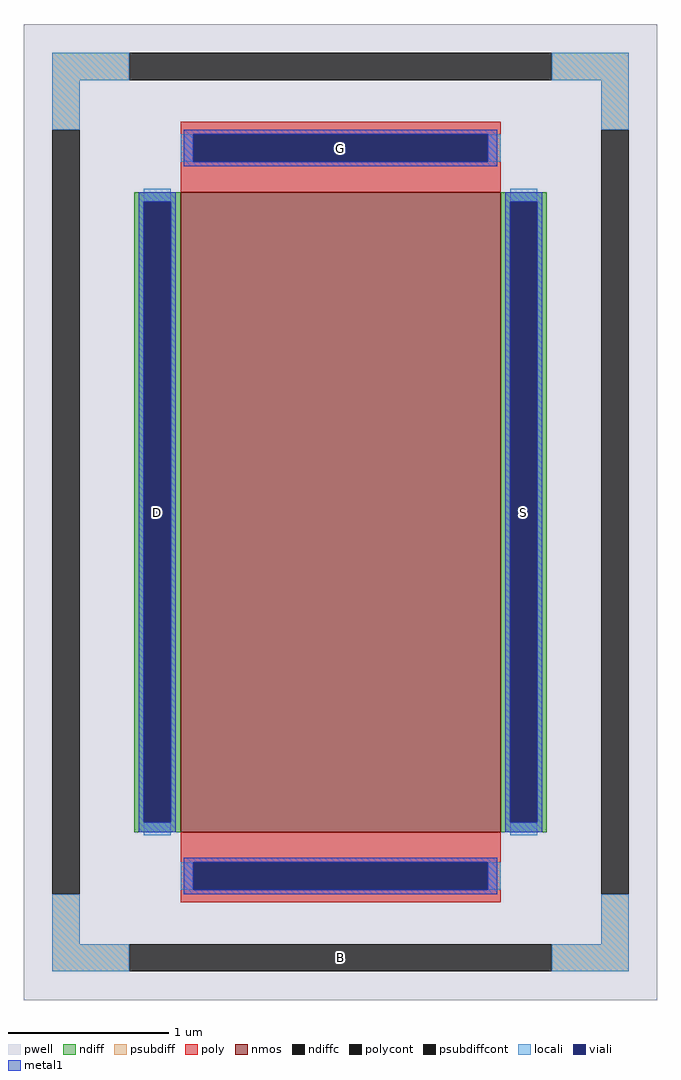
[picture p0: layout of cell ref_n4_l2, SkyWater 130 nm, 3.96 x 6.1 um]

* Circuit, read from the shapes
.subckt ref_n4_l2 B D S G
XM1 S G D B sky130_fd_pr__nfet_01v8 w=4 l=2
.ends

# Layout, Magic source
magic
tech sky130A
magscale 1 2
<< pwell >>
rect -396 -610 396 610
<< nmos >>
rect -200 -400 200 400
<< ndiff >>
rect -258 388 -200 400
rect -258 -388 -246 388
rect -212 -388 -200 388
rect -258 -400 -200 -388
rect 200 388 258 400
rect 200 -388 212 388
rect 246 -388 258 388
rect 200 -400 258 -388
<< ndiffc >>
rect -246 -388 -212 388
rect 212 -388 246 388
<< psubdiff >>
rect -360 540 -264 574
rect 264 540 360 574
rect -360 478 -326 540
rect 326 478 360 540
rect -360 -540 -326 -478
rect 326 -540 360 -478
rect -360 -574 -264 -540
rect 264 -574 360 -540
<< psubdiffcont >>
rect -264 540 264 574
rect -360 -478 -326 478
rect 326 -478 360 478
rect -264 -574 264 -540
<< poly >>
rect -200 472 200 488
rect -200 438 -184 472
rect 184 438 200 472
rect -200 400 200 438
rect -200 -438 200 -400
rect -200 -472 -184 -438
rect 184 -472 200 -438
rect -200 -488 200 -472
<< polycont >>
rect -184 438 184 472
rect -184 -472 184 -438
<< locali >>
rect -360 540 -264 574
rect 264 540 360 574
rect -360 478 -326 540
rect 326 478 360 540
rect -200 438 -184 472
rect 184 438 200 472
rect -246 388 -212 404
rect -246 -404 -212 -388
rect 212 388 246 404
rect 212 -404 246 -388
rect -200 -472 -184 -438
rect 184 -472 200 -438
rect -360 -540 -326 -478
rect 326 -540 360 -478
rect -360 -574 -264 -540
rect 264 -574 360 -540
<< viali >>
rect -184 438 184 472
rect -246 -388 -212 388
rect 212 -388 246 388
rect -184 -472 184 -438
<< metal1 >>
rect -196 472 196 478
rect -196 438 -184 472
rect 184 438 196 472
rect -196 432 196 438
rect -252 388 -206 400
rect -252 -388 -246 388
rect -212 -388 -206 388
rect -252 -400 -206 -388
rect 206 388 252 400
rect 206 -388 212 388
rect 246 -388 252 388
rect 206 -400 252 -388
rect -196 -438 196 -432
rect -196 -472 -184 -438
rect 184 -472 196 -438
rect -196 -478 196 -472
<< labels >>
rlabel psubdiffcont 0 -557 0 -557 0 B
port 1 nsew
rlabel ndiffc -229 0 -229 0 0 D
port 2 nsew
rlabel ndiffc 229 0 229 0 0 S
port 3 nsew
rlabel polycont 0 455 0 455 0 G
port 4 nsew
<< properties >>
string FIXED_BBOX -343 -557 343 557
<< end >>
